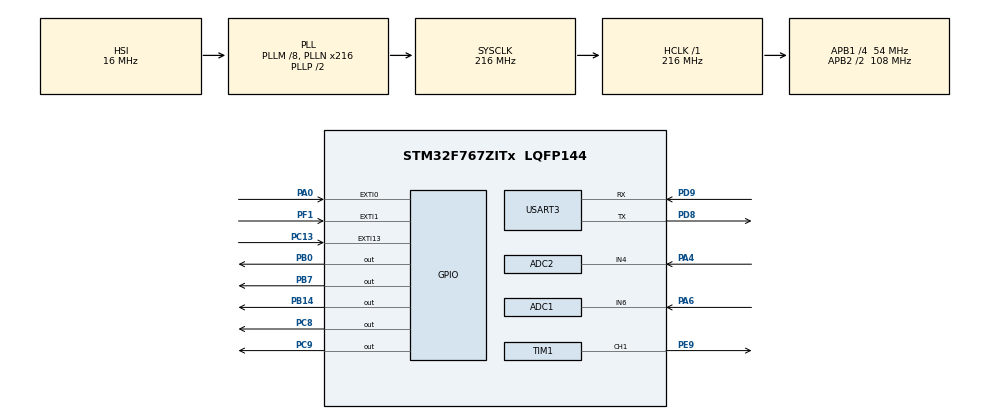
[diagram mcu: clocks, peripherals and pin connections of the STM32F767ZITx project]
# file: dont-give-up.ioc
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ADC1.Channel-0\#ChannelRegularConversion=ADC_CHANNEL_6
ADC1.ClockPrescaler=ADC_CLOCK_SYNC_PCLK_DIV4
ADC1.ContinuousConvMode=DISABLE
ADC1.DMAContinuousRequests=DISABLE
ADC1.EOCSelection=ADC_EOC_SEQ_CONV
ADC1.ExternalTrigConv=ADC_EXTERNALTRIGCONV_T2_TRGO
ADC1.NbrOfConversionFlag=1
ADC1.Rank-0\#ChannelRegularConversion=1
ADC1.SamplingTime-0\#ChannelRegularConversion=ADC_SAMPLETIME_28CYCLES
ADC1.ScanConvMode=ADC_SCAN_DISABLE
ADC1.master=1
ADC2.Channel-0\#ChannelRegularConversion=ADC_CHANNEL_4
ADC2.ContinuousConvMode=ENABLE
ADC2.EOCSelection=ADC_EOC_SEQ_CONV
ADC2.ExternalTrigConv=ADC_SOFTWARE_START
ADC2.NbrOfConversionFlag=1
ADC2.Rank-0\#ChannelRegularConversion=1
ADC2.SamplingTime-0\#ChannelRegularConversion=ADC_SAMPLETIME_3CYCLES
CORTEX_M7.ART_ACCLERATOR_ENABLE=0
CORTEX_M7.CPU_DCache=Enabled
CORTEX_M7.CPU_ICache=Enabled
CORTEX_M7.PREFETCH_ENABLE=0
Dma.ADC1.1.Direction=DMA_PERIPH_TO_MEMORY
Dma.ADC1.1.FIFOMode=DMA_FIFOMODE_ENABLE
Dma.ADC1.1.FIFOThreshold=DMA_FIFO_THRESHOLD_FULL
Dma.ADC1.1.Instance=DMA2_Stream0
Dma.ADC1.1.MemBurst=DMA_MBURST_SINGLE
Dma.ADC1.1.MemDataAlignment=DMA_MDATAALIGN_WORD
Dma.ADC1.1.MemInc=DMA_MINC_ENABLE
Dma.ADC1.1.Mode=DMA_CIRCULAR
Dma.ADC1.1.PeriphBurst=DMA_PBURST_SINGLE
Dma.ADC1.1.PeriphDataAlignment=DMA_PDATAALIGN_WORD
Dma.ADC1.1.PeriphInc=DMA_PINC_DISABLE
Dma.ADC1.1.Priority=DMA_PRIORITY_LOW
Dma.Request0=TIM1_CH1
Dma.Request1=ADC1
Dma.TIM1_CH1.0.Direction=DMA_MEMORY_TO_PERIPH
Dma.TIM1_CH1.0.FIFOMode=DMA_FIFOMODE_DISABLE
Dma.TIM1_CH1.0.Instance=DMA2_Stream1
Dma.TIM1_CH1.0.MemDataAlignment=DMA_MDATAALIGN_HALFWORD
Dma.TIM1_CH1.0.MemInc=DMA_MINC_ENABLE
Dma.TIM1_CH1.0.Mode=DMA_CIRCULAR
Dma.TIM1_CH1.0.PeriphDataAlignment=DMA_PDATAALIGN_HALFWORD
Dma.TIM1_CH1.0.PeriphInc=DMA_PINC_DISABLE
Dma.TIM1_CH1.0.Priority=DMA_PRIORITY_HIGH
Mcu.Family=STM32F7
Mcu.Name=STM32F767ZITx
Mcu.Package=LQFP144
NVIC.ADC_IRQn=true\:3\:1\:true\:false\:true\:true\:true
NVIC.DMA2_Stream0_IRQn=true\:0\:0\:false\:false\:true\:false\:true
NVIC.DMA2_Stream1_IRQn=true\:0\:0\:true\:false\:true\:false\:true
NVIC.EXTI0_IRQn=true\:2\:0\:true\:false\:true\:true\:true
NVIC.EXTI1_IRQn=true\:1\:0\:true\:false\:true\:true\:true
NVIC.PriorityGroup=NVIC_PRIORITYGROUP_2
NVIC.TIM4_IRQn=true\:1\:2\:true\:false\:true\:true\:true
PA0/WKUP.Signal=GPXTI0
PA4.Signal=ADCx_IN4
PA6.Signal=ADCx_IN6
PB0.Signal=GPIO_Output
PB14.Signal=GPIO_Output
PB7.Signal=GPIO_Output
PC13.Signal=GPXTI13
PC8.Signal=GPIO_Output
PC9.Signal=GPIO_Output
PD8.Mode=Asynchronous
PD8.Signal=USART3_TX
PD9.Mode=Asynchronous
PD9.Signal=USART3_RX
PE9.Signal=S_TIM1_CH1
PF1.Signal=GPXTI1
ProjectManager.HeapSize=0x200
ProjectManager.StackSize=0x400
ProjectManager.TargetToolchain=MDK-ARM V5
RCC.AHBFreq_Value=216000000
RCC.APB1CLKDivider=RCC_HCLK_DIV4
RCC.APB1Freq_Value=54000000
RCC.APB1TimFreq_Value=108000000
RCC.APB2CLKDivider=RCC_HCLK_DIV2
RCC.APB2Freq_Value=108000000
RCC.APB2TimFreq_Value=216000000
RCC.CortexFreq_Value=216000000
RCC.HCLKFreq_Value=216000000
RCC.HSE_VALUE=25000000
RCC.HSI_VALUE=16000000
RCC.LSE_VALUE=32768
RCC.PLLM=8
RCC.PLLN=216
RCC.SYSCLKFreq_VALUE=216000000
RCC.SYSCLKSource=RCC_SYSCLKSOURCE_PLLCLK
RCC.USBFreq_Value=216000000
RCC.VCOOutputFreq_Value=432000000
SH.ADCx_IN4.0=ADC2_IN4,IN4
SH.ADCx_IN6.0=ADC1_IN6,IN6
SH.S_TIM1_CH1.0=TIM1_CH1,PWM Generation1 CH1
TIM1.Channel-PWM\ Generation1\ CH1=TIM_CHANNEL_1
TIM1.Period=90-1
TIM1.Prescaler=3-1
TIM2.Period=10000-1
TIM2.Prescaler=10800-1
TIM2.TIM_MasterOutputTrigger=TIM_TRGO_UPDATE
TIM4.Period=10000-1
TIM4.Prescaler=2160-1
TIM4.TIM_MasterOutputTrigger=TIM_TRGO_RESET
USART3.VirtualMode-Asynchronous=VM_ASYNC
VP_TIM2_VS_ClockSourceINT.Mode=Internal
VP_TIM4_VS_ClockSourceINT.Mode=Internal
board=custom

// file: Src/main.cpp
/* USER CODE BEGIN Header */
/**
  ******************************************************************************
  * @file           : main.c
  * @brief          : Main program body
  ******************************************************************************
  * @attention
  *
  * <h2><center>&copy; Copyright (c) 2019 STMicroelectronics.
  * All rights reserved.</center></h2>
  *
  * This software component is licensed by ST under BSD 3-Clause license,
  * the "License"; You may not use this file except in compliance with the
  * License. You may obtain a copy of the License at:
  *                        opensource.org/licenses/BSD-3-Clause
  *
  ******************************************************************************
  */
/* USER CODE END Header */

#include "main.h"
#include "adc.h"
#include "dma.h"
#include "tim.h"
#include "usart.h"
#include "gpio.h"

/* USER CODE BEGIN Includes */

#include "ws2812b.h"
#include "time.h"
#include "stdio.h"
#include "string.h"
#include "math.h"
#include "stdlib.h"
//#include "arm_math.h"
//#include "arm_const_structs.h"
/* USER CODE END Includes */

/* USER CODE BEGIN PV */
WSLED wsled;

int mode=0;
uint32_t speed=20;

bool flag_stop = false;
bool flag_music = false;
uint8_t FREQ=0;
uint32_t adc_Val[10];
uint8_t palette_A[6][3] = {
	{0xac,0x46,0x84},
	{0x95,0x47,0x84},
	{0x6d,0x48,0x86},
	{0x50,0x48,0x87},
	{0x3a,0x48,0x87},
	{0x20,0x49,0x88},
};

uint8_t musicSpectrum[6] = {1,2,3,4,5,6};
uint8_t musicColor[3] = {0xff,0x00,0x92};
uint8_t freqType = 5;
uint8_t randomFreq;

uint8_t musicLine[6][6] = {
	{1,3,4,6,5,2},
	{1,2,3,5,6,4},
	{1,1,2,3,5,6},
	{4,6,5,4,2,1},
	{6,4,3,3,2,1},
	{2,4,6,5,3,2},
};

extern DMA_HandleTypeDef hdma_adc1;
/* USER CODE END PV */

void SystemClock_Config(void);
/* USER CODE BEGIN PFP */
void initWSLED(void);
uint32_t Wheel(uint8_t WheelPos);

void rainbowGradient();
void strobeGradient();
void wheelAll(void);
void randomColor(void);
void loopPalette(uint8_t color[6][3]);
void loopPalette2(uint8_t color[6][3]);

uint8_t randomNumber(uint8_t lower, uint8_t upper);
void displayHEX(uint32_t adc_input);
void displayVOL(uint32_t input_vol);
uint32_t set_speed(uint32_t input_rotary);

uint32_t spectrum_ANALYZER();
uint32_t set_Freq(double get_ADC[]);

void musicPalette(uint8_t spectrum[6], uint8_t color[3]);
void musicWave(uint8_t waveLine[6][6], uint8_t type, uint8_t color[3]);
void musicRow(uint8_t color[3]);

/* USER CODE END PFP */

int main(void)
{
  /* USER CODE BEGIN 1 */
	/* Enable I-Cache---------------------------------------------------------*/
  SCB_EnableICache();

  /* Enable D-Cache---------------------------------------------------------*/
  SCB_EnableDCache();
  /* USER CODE END 1 */

  /* Enable I-Cache---------------------------------------------------------*/
  SCB_EnableICache();

  /* Enable D-Cache---------------------------------------------------------*/
  SCB_EnableDCache();

  /* MCU Configuration--------------------------------------------------------*/

  /* Reset of all peripherals, Initializes the Flash interface and the Systick. */
  HAL_Init();

  /* Configure the system clock */
  SystemClock_Config();

  /* Initialize all configured peripherals */
  MX_GPIO_Init();
  MX_DMA_Init();
  MX_TIM1_Init();
  MX_ADC1_Init();
  MX_USART3_UART_Init();
  MX_ADC2_Init();
  MX_TIM2_Init();
  MX_TIM4_Init();
  /* USER CODE BEGIN 2 */
	MX_ADC1_Init();
	MX_USART3_UART_Init();

//	uint32_t adc_val = 0;

	wsled.led_init();

	HAL_TIM_Base_Start(&htim2);
	HAL_ADC_Start_IT(&hadc1);

	HAL_TIM_Base_Start_IT(&htim4);
	HAL_ADC_Start(&hadc2);

	HAL_GPIO_WritePin(GPIOC, GPIO_PIN_9,GPIO_PIN_RESET); // set default NONC
	HAL_GPIO_WritePin(GPIOC, GPIO_PIN_14,GPIO_PIN_SET);

  /* USER CODE END 2 */

  /* Infinite loop */
  while (1)
  {

    /* USER CODE BEGIN 3 */

		if (flag_stop) {
			wsled.led_init();
			HAL_Delay(200);
			flag_stop = false;
		}

		if (flag_music) {
			musicRow(musicColor);
		} else {
			if(mode==0) {
				GPIOC -> BSRR = 0x40810000;
				HAL_GPIO_WritePin(GPIOB, GPIO_PIN_0,GPIO_PIN_RESET);
				HAL_GPIO_WritePin(GPIOB, GPIO_PIN_7,GPIO_PIN_RESET);
				HAL_GPIO_WritePin(GPIOB, GPIO_PIN_14,GPIO_PIN_RESET);
				HAL_GPIO_WritePin(GPIOB, GPIO_PIN_0,GPIO_PIN_SET);

				strobeGradient();
			} else if(mode==1) {
				GPIOC -> BSRR = 0x40810000;

				HAL_GPIO_WritePin(GPIOB, GPIO_PIN_0,GPIO_PIN_RESET);
				HAL_GPIO_WritePin(GPIOB, GPIO_PIN_7,GPIO_PIN_RESET);
				HAL_GPIO_WritePin(GPIOB, GPIO_PIN_14,GPIO_PIN_RESET);
				HAL_GPIO_WritePin(GPIOB, GPIO_PIN_7,GPIO_PIN_SET);

				rainbowGradient();
			} else if(mode==2) {
				GPIOC -> BSRR = 0x40810000;

				HAL_GPIO_WritePin(GPIOB, GPIO_PIN_0,GPIO_PIN_RESET);
				HAL_GPIO_WritePin(GPIOB, GPIO_PIN_7,GPIO_PIN_RESET);
				HAL_GPIO_WritePin(GPIOB, GPIO_PIN_14,GPIO_PIN_RESET);
				HAL_GPIO_WritePin(GPIOB, GPIO_PIN_14,GPIO_PIN_SET);

				wheelAll();
			} else if(mode==3) {
				//

				loopPalette2(palette_A);
			} else if(mode==4) {
				//

				randomColor();
			}
		}

	}
  /* USER CODE END 3 */
}

void SystemClock_Config(void)
{
  RCC_OscInitTypeDef RCC_OscInitStruct = {0};
  RCC_ClkInitTypeDef RCC_ClkInitStruct = {0};
  RCC_PeriphCLKInitTypeDef PeriphClkInitStruct = {0};

  /** Configure the main internal regulator output voltage
  */
  __HAL_RCC_PWR_CLK_ENABLE();
  __HAL_PWR_VOLTAGESCALING_CONFIG(PWR_REGULATOR_VOLTAGE_SCALE1);
  /** Initializes the CPU, AHB and APB busses clocks
  */
  RCC_OscInitStruct.OscillatorType = RCC_OSCILLATORTYPE_HSI;
  RCC_OscInitStruct.HSIState = RCC_HSI_ON;
  RCC_OscInitStruct.HSICalibrationValue = RCC_HSICALIBRATION_DEFAULT;
  RCC_OscInitStruct.PLL.PLLState = RCC_PLL_ON;
  RCC_OscInitStruct.PLL.PLLSource = RCC_PLLSOURCE_HSI;
  RCC_OscInitStruct.PLL.PLLM = 8;
  RCC_OscInitStruct.PLL.PLLN = 216;
  RCC_OscInitStruct.PLL.PLLP = RCC_PLLP_DIV2;
  RCC_OscInitStruct.PLL.PLLQ = 2;
  if (HAL_RCC_OscConfig(&RCC_OscInitStruct) != HAL_OK)
  {
    Error_Handler();
  }
  /** Activate the Over-Drive mode
  */
  if (HAL_PWREx_EnableOverDrive() != HAL_OK)
  {
    Error_Handler();
  }
  /** Initializes the CPU, AHB and APB busses clocks
  */
  RCC_ClkInitStruct.ClockType = RCC_CLOCKTYPE_HCLK|RCC_CLOCKTYPE_SYSCLK
                              |RCC_CLOCKTYPE_PCLK1|RCC_CLOCKTYPE_PCLK2;
  RCC_ClkInitStruct.SYSCLKSource = RCC_SYSCLKSOURCE_PLLCLK;
  RCC_ClkInitStruct.AHBCLKDivider = RCC_SYSCLK_DIV1;
  RCC_ClkInitStruct.APB1CLKDivider = RCC_HCLK_DIV4;
  RCC_ClkInitStruct.APB2CLKDivider = RCC_HCLK_DIV2;

  if (HAL_RCC_ClockConfig(&RCC_ClkInitStruct, FLASH_LATENCY_7) != HAL_OK)
  {
    Error_Handler();
  }
  PeriphClkInitStruct.PeriphClockSelection = RCC_PERIPHCLK_USART3;
  PeriphClkInitStruct.Usart3ClockSelection = RCC_USART3CLKSOURCE_PCLK1;
  if (HAL_RCCEx_PeriphCLKConfig(&PeriphClkInitStruct) != HAL_OK)
  {
    Error_Handler();
  }
}

/* USER CODE BEGIN 4 */
void initWSLED(void) {
	wsled.led_init();
	wsled.led_set_color_all(0x0F, 0x0F, 0x0F);
	wsled.led_display();
}

uint32_t Wheel(uint8_t WheelPos) {
  if(WheelPos < 85) {
    //return wsled.Color(WheelPos * 3, 255 - WheelPos * 3, 0);
		return (((uint32_t)(WheelPos * 3) << 16) | ((255 - (uint32_t)WheelPos * 3) <<  8) | 0) << 8;
  } else {
    if(WheelPos < 170) {
     WheelPos -= 85;
     //return wsled.Color(255 - WheelPos * 3, 0, WheelPos * 3);
		 return (((255 - (uint32_t)WheelPos * 3) << 16) | (0 <<  8) | ((uint32_t)WheelPos * 3)) << 8;
    } else {
     WheelPos -= 170;
     //return wsled.Color(0, WheelPos * 3, 255 - WheelPos * 3);
		 return (((uint32_t)0 << 16) | (((uint32_t)WheelPos * 3) <<  8) | (255 - (uint32_t)WheelPos * 3)) << 8;
    }
  }
}

void rainbowGradient(void) {
	uint16_t i, j;

	for(j=0; j<256*5; j++) {
		for(i=0; i< LED_CFG_LEDS_CNT; i++) {
			wsled.led_set_color_rgb(i, Wheel(((i * 255 / LED_CFG_LEDS_CNT) + j) & 255));
		}
		wsled.led_display();
		HAL_Delay(10);
		HAL_Delay(speed/3);
		if (flag_stop) break;
	}
}

void strobeGradient(void) {
	uint16_t i, j, q;

	for (j=0; j < 256; j++) {     // cycle all 256 colors in the wheel
		for (q=0; q < 3; q++) {
			for (i=0;i < LED_CFG_LEDS_CNT;i=i+3) {
				wsled.led_set_color_rgb(i+q, Wheel((i+j) % 255));    //turn every third pixel on
			}
			wsled.led_display();

			HAL_Delay(50);
			HAL_Delay(speed);

			for (i=0;i < LED_CFG_LEDS_CNT;i=i+3) {
				wsled.led_set_color_rgb(i+q, 0);        //turn every third pixel off
			}
		}
		if (flag_stop) break;
	}
}

void wheelAll(void) {
	uint16_t i;

	for (i=0; i < 256; i++) {
		wsled.led_set_color_all_rgb(Wheel(i % 255));
		wsled.led_display();
		HAL_Delay(200);
		HAL_Delay(speed/3);
		if (flag_stop) break;
	}
}

uint8_t randomNumber(uint8_t lower, uint8_t upper) {
	return (rand() % (upper - lower + 1)) + lower;
}

void randomColor(void) {
	uint16_t i;
	uint8_t color_r, color_g, color_b;

	for (i=0;i < LED_CFG_LEDS_CNT; i++) {
		color_r = randomNumber(0, 255);
		color_g = randomNumber(0, 255);
		color_b = randomNumber(0, 255);

		wsled.led_set_color(i, color_r, color_g, color_b);
		if (flag_stop) break;
	}
	wsled.led_display();
	HAL_Delay(200 + (speed));

}

void loopPalette(uint8_t color[6][3]) {
	uint16_t i, j;
	uint8_t palettePos;

	for (j=0;j < 6; j++) {
		for (i=0;i < LED_CFG_LEDS_CNT; i++) {
			if ((i / 6) % 2 == 1) {
				palettePos = (i+j)%6;
			} else {
				palettePos = 5-(i+j)%6;
			}
			wsled.led_set_color(i, color[palettePos][0], color[palettePos][1], color[palettePos][2]);
		}
		wsled.led_display();
		HAL_Delay(200 + (speed));
		if (flag_stop) break;
	}
}

void loopPalette2(uint8_t color[6][3]) {
	uint16_t i, j;
	uint8_t palettePos;

	for (j=0;j < 6;j++) {
		for (i=0;i < LED_CFG_LEDS_CNT;i++) {
			palettePos = ((i / 6)+j) % 6;
			wsled.led_set_color(i, color[palettePos][0], color[palettePos][1], color[palettePos][2]);
		}
		wsled.led_display();
		HAL_Delay(150 + (speed));
		if (flag_stop) break;
	}
}

void musicPalette(uint8_t spectrum[6], uint8_t color[3]) {
	uint8_t tempSpectrum[6] = {
		spectrum[0], spectrum[1], spectrum[2], spectrum[3], spectrum[4], spectrum[5]
	};

	uint16_t i;
  uint8_t row;
	bool isOddRow;

  for(i=0;i<LED_CFG_LEDS_CNT;i++) {
    row = i / 6;
		isOddRow = (row % 2 == 0);

		if (isOddRow) {
			if (tempSpectrum[row] > 0) {
				wsled.led_set_color(i, color[0], color[1], color[2]);
				tempSpectrum[row]--;
			} else {
				wsled.led_set_color(i, 0xFF, 0xFF, 0xFF);
			}
		} else {
			if (tempSpectrum[row] < 6) {
				wsled.led_set_color(i, 0xFF, 0xFF, 0xFF);
				tempSpectrum[row]++;
			} else {
				wsled.led_set_color(i, color[0], color[1], color[2]);
			}
		}
		if (flag_stop) break;
    wsled.led_display();
  }
	HAL_Delay(150);
}

void musicRow(uint8_t color[3]) {
	uint16_t i,j;

	randomFreq = FREQ;

	for(j=0;j<6;j++) {
		for (i=0;i < LED_CFG_LEDS_CNT;i++) {
			if (i < 6 * (randomFreq) && randomFreq != 0) {
				wsled.led_set_color(i, color[0], color[1], color[2]);
			} else {
				wsled.led_set_color(i, 0x0f, 0x0f, 0x0f);
			}
		}
		wsled.led_display();
		HAL_Delay(50);
		HAL_Delay(speed);
		if (flag_stop) break;
	}
}

void displayVOL(uint32_t input_vol)
{
	char vin[] = "Vin = ";
	double volin = input_vol/pow(2,12.0f)*3.3 ;
	char newline[] = "\n\r";
	char Volin[sizeof(unsigned int)*8+1] ;
	sprintf(Volin,"%.2f",volin);

	while(__HAL_UART_GET_FLAG(&huart3,UART_FLAG_TC)==RESET){};
	HAL_UART_Transmit(&huart3,(uint8_t*) vin,strlen(vin),1000);

	while(__HAL_UART_GET_FLAG(&huart3,UART_FLAG_TC)==RESET){};
	HAL_UART_Transmit(&huart3,(uint8_t*) Volin,strlen(Volin),1000);

	while(__HAL_UART_GET_FLAG(&huart3,UART_FLAG_TC)==RESET){};
	HAL_UART_Transmit(&huart3,(uint8_t*) newline,strlen(newline),1000);

}

void displayHEX(uint32_t adc_input)
{
	char hex[sizeof(unsigned int)*8+1];
	char ox[] = "0x";
	char o = '0';

	sprintf(hex, "%x ", adc_input);
	while(__HAL_UART_GET_FLAG(&huart3,UART_FLAG_TC)==RESET){};
	HAL_UART_Transmit(&huart3,(uint8_t*) ox,strlen(ox),1000);
	for(int i =1;i<=8-strlen(hex);i++)
	{
	while(__HAL_UART_GET_FLAG(&huart3,UART_FLAG_TC)==RESET){};
	HAL_UART_Transmit(&huart3,(uint8_t*) &o,1,1000);
	}
	while(__HAL_UART_GET_FLAG(&huart3,UART_FLAG_TC)==RESET){};
	HAL_UART_Transmit(&huart3,(uint8_t*) hex,strlen(hex),1000);

}

uint32_t set_Freq(double get_ADC[]){
	char get_ADC_write[sizeof(unsigned int)*8+1] ;
	char newline[]= "\n\r" ;
	uint32_t format_Freq;
	for(int i = 0 ; i<6;i++){

		get_ADC[i]=get_ADC[i]/pow(2,12.0f)*3.3 ;

	}
	for(int i = 0 ; i<6;i++){
	sprintf(get_ADC_write,"%.2f",get_ADC[i]);
	while(__HAL_UART_GET_FLAG(&huart3,UART_FLAG_TC)==RESET){}
				HAL_UART_Transmit(&huart3,(uint8_t *) get_ADC_write,strlen(get_ADC_write),1000);
		while(__HAL_UART_GET_FLAG(&huart3,UART_FLAG_TC)==RESET){};
				HAL_UART_Transmit(&huart3,(uint8_t*) newline,strlen(newline),1000);

	}
	if(get_ADC[0]<0.5&&get_ADC[1]<0.5&&get_ADC[2]<0.5&&get_ADC[3]<0.5&&get_ADC[4]<0.5&&get_ADC[5]>=2.0){
		format_Freq=0;
		while(__HAL_UART_GET_FLAG(&huart3,UART_FLAG_TC)==RESET){}
				HAL_UART_Transmit(&huart3,(uint8_t *)"Freq = 0",8,1000);
				while(__HAL_UART_GET_FLAG(&huart3,UART_FLAG_TC)==RESET){};
				HAL_UART_Transmit(&huart3,(uint8_t*) newline,strlen(newline),1000);
	}
	else if((get_ADC[0]>=1.65&&get_ADC[1]>=1.3&&get_ADC[2]>=2.0&&get_ADC[3]>=2.0)||(get_ADC[0]>=1.4&&get_ADC[1]<=0.8&&get_ADC[2]>=1.4&&get_ADC[3]>=1.4)||(get_ADC[0]>=0.90&&get_ADC[1]<=0.01&&get_ADC[2]>=0.01&&get_ADC[3]>=0.01)){
		format_Freq=1;
		while(__HAL_UART_GET_FLAG(&huart3,UART_FLAG_TC)==RESET){}
				HAL_UART_Transmit(&huart3,(uint8_t *)"Freq = 1",8,1000);
				while(__HAL_UART_GET_FLAG(&huart3,UART_FLAG_TC)==RESET){};
				HAL_UART_Transmit(&huart3,(uint8_t*) newline,strlen(newline),1000);
	}
	else if(get_ADC[0]>=1.1&&get_ADC[1]>=2&&get_ADC[2]>=2&&get_ADC[3]>=2){
		format_Freq=2;
		while(__HAL_UART_GET_FLAG(&huart3,UART_FLAG_TC)==RESET){}
				HAL_UART_Transmit(&huart3,(uint8_t *)"Freq = 2",8,1000);
				while(__HAL_UART_GET_FLAG(&huart3,UART_FLAG_TC)==RESET){};
				HAL_UART_Transmit(&huart3,(uint8_t*) newline,strlen(newline),1000);
	}
	else if(get_ADC[0]>=0.6&&get_ADC[1]>=2&&get_ADC[2]>=2&&get_ADC[3]>=2){
		format_Freq=3;
		while(__HAL_UART_GET_FLAG(&huart3,UART_FLAG_TC)==RESET){}
				HAL_UART_Transmit(&huart3,(uint8_t *)"Freq = 3",8,1000);
				while(__HAL_UART_GET_FLAG(&huart3,UART_FLAG_TC)==RESET){};
				HAL_UART_Transmit(&huart3,(uint8_t*) newline,strlen(newline),1000);
	}
	else if(get_ADC[0]>=0.2&&get_ADC[1]>=0.7&&get_ADC[2]>=2&&get_ADC[3]>=2){
		format_Freq=4;
		while(__HAL_UART_GET_FLAG(&huart3,UART_FLAG_TC)==RESET){}
				HAL_UART_Transmit(&huart3,(uint8_t *)"Freq = 4",8,1000);
				while(__HAL_UART_GET_FLAG(&huart3,UART_FLAG_TC)==RESET){};
				HAL_UART_Transmit(&huart3,(uint8_t*) newline,strlen(newline),1000);
	}
	else if(get_ADC[0]>=0.1&&get_ADC[1]>=1.4&&get_ADC[2]>=2&&get_ADC[3]>=2){
		format_Freq=5;
		while(__HAL_UART_GET_FLAG(&huart3,UART_FLAG_TC)==RESET){}
				HAL_UART_Transmit(&huart3,(uint8_t *)"Freq = 5",8,1000);
				while(__HAL_UART_GET_FLAG(&huart3,UART_FLAG_TC)==RESET){};
				HAL_UART_Transmit(&huart3,(uint8_t*) newline,strlen(newline),1000);
	}
	else if(get_ADC[4]>=2&&get_ADC[5]>=2){
		format_Freq=6;
		while(__HAL_UART_GET_FLAG(&huart3,UART_FLAG_TC)==RESET){}
				HAL_UART_Transmit(&huart3,(uint8_t *)"Freq = 6",8,1000);
				while(__HAL_UART_GET_FLAG(&huart3,UART_FLAG_TC)==RESET){};
				HAL_UART_Transmit(&huart3,(uint8_t*) newline,strlen(newline),1000);
	}
	return format_Freq;
}

uint32_t spectrum_ANALYZER(){
	int freq=0;
	double adc_NONC[7];
	HAL_GPIO_WritePin(GPIOC, GPIO_PIN_9,GPIO_PIN_SET);
	HAL_GPIO_WritePin(GPIOC, GPIO_PIN_9,GPIO_PIN_RESET);

	for(int i = 0; i<7;i++){
		HAL_GPIO_WritePin(GPIOC, GPIO_PIN_8,GPIO_PIN_RESET);
		//HAL_Delay(1);
		uint64_t now = HAL_GetTick();
		while(now + 1> HAL_GetTick());
		adc_NONC[i] = HAL_ADC_GetValue(&hadc2);
		displayHEX(adc_NONC[i]);
		displayVOL(adc_NONC[i]);
		HAL_GPIO_WritePin(GPIOC, GPIO_PIN_8,GPIO_PIN_SET);
	}
	freq = set_Freq(adc_NONC);
	return freq;
}

uint32_t set_speed(uint32_t input_rotary){
	char newline[]= "\n\r" ;
	uint32_t LED_speed;
	if(input_rotary/pow(2,12.0f)*3.3 <= 1.5){
				LED_speed = 500;
				while(__HAL_UART_GET_FLAG(&huart3,UART_FLAG_TC)==RESET){}
				HAL_UART_Transmit(&huart3,(uint8_t *)"Speed += 500",12,1000);
				while(__HAL_UART_GET_FLAG(&huart3,UART_FLAG_TC)==RESET){};
				HAL_UART_Transmit(&huart3,(uint8_t*) newline,strlen(newline),1000);
	}
	else if(input_rotary/pow(2,12.0f)*3.3 <= 3.1){
				LED_speed = 250;
				while(__HAL_UART_GET_FLAG(&huart3,UART_FLAG_TC)==RESET){}
				HAL_UART_Transmit(&huart3,(uint8_t *)"Speed += 250",12,1000);
				while(__HAL_UART_GET_FLAG(&huart3,UART_FLAG_TC)==RESET){};
				HAL_UART_Transmit(&huart3,(uint8_t*) newline,strlen(newline),1000);
	}
	else{
				LED_speed = 0;
				while(__HAL_UART_GET_FLAG(&huart3,UART_FLAG_TC)==RESET){}
				HAL_UART_Transmit(&huart3,(uint8_t *)"Speed += 0",12,1000);
				while(__HAL_UART_GET_FLAG(&huart3,UART_FLAG_TC)==RESET){};
				HAL_UART_Transmit(&huart3,(uint8_t*) newline,strlen(newline),1000);
	}

	return LED_speed;
	}

void HAL_GPIO_EXTI_Callback(uint16_t GPIO_Pin) {
		HAL_ADC_Start(&hadc1);
		volatile uint32_t adc_val = 0 ;
		char newline[]= "\n\r" ;

		if(GPIO_Pin==GPIO_PIN_0) {
			HAL_TIM_PWM_Stop_DMA(&htim1, TIM_CHANNEL_1);
			flag_stop = true;
			if(mode==0) {
				mode++;
				while(__HAL_UART_GET_FLAG(&huart3,UART_FLAG_TC)==RESET){}
				HAL_UART_Transmit(&huart3,(uint8_t *)"Mode 1",6,1000);
				while(__HAL_UART_GET_FLAG(&huart3,UART_FLAG_TC)==RESET){}
				HAL_UART_Transmit(&huart3,(uint8_t*) newline,strlen(newline),1000);

				musicColor[0] = 0xff;
				musicColor[1] = 0x00;
				musicColor[2] = 0x92;
			} else if(mode==1){
				mode++;
				while(__HAL_UART_GET_FLAG(&huart3,UART_FLAG_TC)==RESET){}
				HAL_UART_Transmit(&huart3,(uint8_t *)"Mode 2",6,1000);
				while(__HAL_UART_GET_FLAG(&huart3,UART_FLAG_TC)==RESET){}
				HAL_UART_Transmit(&huart3,(uint8_t*) newline,strlen(newline),1000);

				musicColor[0] = 0xf8;
				musicColor[1] = 0x1e;
				musicColor[2] = 0x07;
			} else if(mode==2){
				mode++;
				while(__HAL_UART_GET_FLAG(&huart3,UART_FLAG_TC)==RESET){}
				HAL_UART_Transmit(&huart3,(uint8_t *)"Mode 0",6,1000);
				while(__HAL_UART_GET_FLAG(&huart3,UART_FLAG_TC)==RESET){}
				HAL_UART_Transmit(&huart3,(uint8_t*) newline,strlen(newline),1000);

				musicColor[0] = 0x00;
				musicColor[1] = 0x51;
				musicColor[2] = 0xff;
			} else if(mode==3) {
				mode++;

				musicColor[0] = 0xff;
				musicColor[1] = 0xff;
				musicColor[2] = 0xff;
			} else if(mode==4) {
				mode=0;

				musicColor[0] = 0x59;
				musicColor[1] = 0xff;
				musicColor[2] = 0xda;
			}
			HAL_Delay(200);
		}

		if(GPIO_Pin==GPIO_PIN_1) {
			flag_stop = true;
			mode = 0;
			if (flag_music == true) flag_music = false;
			else if (flag_music == false) flag_music = true;

			while(__HAL_UART_GET_FLAG(&huart3,UART_FLAG_TC)==RESET){}
			HAL_UART_Transmit(&huart3,(uint8_t *)"Music0",6,1000);

		}
	}

void HAL_ADC_ConvCpltCallback(ADC_HandleTypeDef* hadc){
	uint32_t adcVal;
	if(hadc ->Instance==ADC1){

		adcVal = HAL_ADC_GetValue(hadc);

		speed = set_speed(adcVal);
}

}

/* USER CODE END 4 */

void Error_Handler(void)
{
}

/************************ (C) COPYRIGHT STMicroelectronics *****END OF FILE****/
